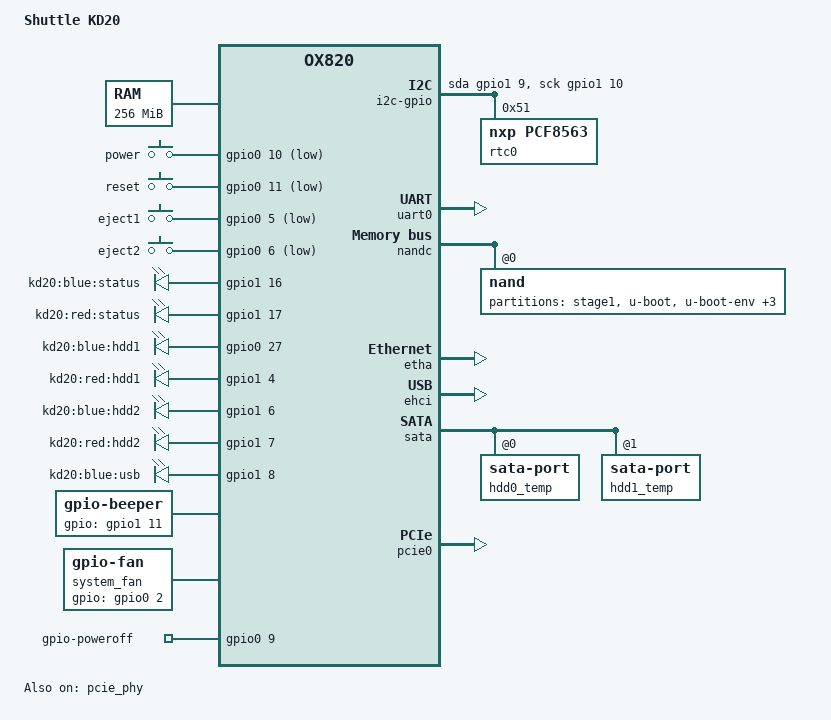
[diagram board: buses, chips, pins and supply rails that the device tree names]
/dts-v1/;

#include "ox820.dtsi"

#include <dt-bindings/gpio/gpio.h>
#include <dt-bindings/input/input.h>
#include <dt-bindings/thermal/thermal.h>

/ {
	model = "Shuttle KD20";

	compatible = "shuttle,kd20", "oxsemi,ox820";

	chosen {
		bootargs = "earlyprintk console=ttyS0,115200";
		stdout-path = "serial0:115200n8";
	};

	memory {
		/* 256Mbytes DDR */
		reg = <0x60000000 0x10000000>;
	};

	aliases {
		serial0 = &uart0;
		gpio0 = &gpio0;
		gpio1 = &gpio1;
		led-boot = &led_status;
		led-failsafe = &led_warn;
		led-running = &led_status;
		led-upgrade = &led_warn;
	};

	thermal_zones {
		chassis-thermal {
			/* Poll every 20 seconds */
			polling-delay = <20000>;
			/* Poll every 2nd second when cooling */
			polling-delay-passive = <2000>;

			thermal-sensors = <&hdd0_temp>, <&hdd1_temp>;

			trips {
				chassis_alert0: chassis-alert0 {
					/* At 43 degrees turn on fan */
					temperature = <43000>;
					hysteresis = <3000>;
					type = "active";
				};

				chassis_alert1: chassis-alert1 {
					/* At 60 degrees emergency shutdown */
					temperature = <60000>;
					hysteresis = <2000>;
					type = "critical";
				};
			};

			cooling-maps {
				map0 {
					trip = <&chassis_alert0>;
					cooling-device = <&system_fan THERMAL_NO_LIMIT THERMAL_NO_LIMIT>;
				};
			};
		};
	};

	i2c-gpio {
		compatible = "i2c-gpio";
		sda-gpios = <&gpio1 9 (GPIO_ACTIVE_HIGH|GPIO_OPEN_DRAIN)>;
		sck-gpios = <&gpio1 10 (GPIO_ACTIVE_HIGH|GPIO_OPEN_DRAIN)>;
		i2c-gpio,delay-us = <10>;
		#address-cells = <1>;
		#size-cells = <0>;

		rtc0: rtc@51 {
			compatible = "nxp,pcf8563";
			reg = <0x51>;
		};
	};

	keys {
		compatible = "gpio-keys-polled";
		#address-cells = <1>;
		#size-cells = <0>;
		poll-interval = <100>;

		power {
			label = "power";
			gpios = <&gpio0 10 GPIO_ACTIVE_LOW>;
			linux,code = <KEY_POWER>;
		};
		reset {
			label = "reset";
			gpios = <&gpio0 11 GPIO_ACTIVE_LOW>;
			linux,code = <KEY_RESTART>;
		};
		eject1 {
			label = "eject1";
			gpios = <&gpio0 5 GPIO_ACTIVE_LOW>;
			linux,code = <KEY_EJECTCD>;
		};
		eject2 {
			label = "eject2";
			gpios = <&gpio0 6 GPIO_ACTIVE_LOW>;
			linux,code = <162>;
		};
	};

	leds {
		compatible = "gpio-leds";
		led_status: status {
			label = "kd20:blue:status";
			gpios = <&gpio1 16 GPIO_ACTIVE_HIGH>;
		};
		led_warn: status2 {
			label = "kd20:red:status";
			gpios = <&gpio1 17 GPIO_ACTIVE_HIGH>;
		};
		hdd1blue {
			label = "kd20:blue:hdd1";
			gpios = <&gpio0 27 GPIO_ACTIVE_HIGH>;
			linux,default-trigger = "ata1";
		};
		hdd1red {
			label = "kd20:red:hdd1";
			gpios = <&gpio1 4 GPIO_ACTIVE_HIGH>;
		};
		hdd2blue {
			label = "kd20:blue:hdd2";
			gpios = <&gpio1 6 GPIO_ACTIVE_HIGH>;
			linux,default-trigger = "ata2";
		};
		hdd2red {
			label = "kd20:red:hdd2";
			gpios = <&gpio1 7 GPIO_ACTIVE_HIGH>;
		};
		usb {
			label = "kd20:blue:usb";
			gpios = <&gpio1 8 GPIO_ACTIVE_HIGH>;
			trigger-sources = <&ehci_port1>, <&ehci_port2>;
			linux,default-trigger = "usbport";
		};
	};

	beeper: beeper {
		compatible = "gpio-beeper";
		gpios = <&gpio1 11 GPIO_ACTIVE_HIGH>;
	};

	system_fan: gpio-fan {
		compatible = "gpio-fan";
		gpios = <&gpio0 2 GPIO_ACTIVE_HIGH>;
		gpio-fan,speed-map = <0    0
				      3000 1>;
	};

	gpio-poweroff {
		compatible = "gpio-poweroff";
		gpios = <&gpio0 9 GPIO_ACTIVE_HIGH>;
	};
};

&uart0 {
	status = "okay";

	pinctrl-names = "default";
	pinctrl-0 = <&pinctrl_uart0>;
};

&nandc {
	status = "okay";

	pinctrl-names = "default";
	pinctrl-0 = <&pinctrl_nand>;

	nand@0 {
		reg = <0>;
		#address-cells = <1>;
		#size-cells = <1>;
		nand-ecc-mode = "soft";
		nand-ecc-algo = "hamming";

		partition@0 {
			label = "stage1";
			reg = <0x00000000 0x00040000>;
			read-only;
		};

		partition@40000 {
			label = "u-boot";
			reg = <0x00040000 0x001e0000>;
			read-only;
		};

		partition@220000 {
			label = "u-boot-env";
			reg = <0x00220000 0x00020000>;
		};

		partition@240000 {
			label = "initrd";
			reg = <0x00240000 0x00600000>;
		};

		partition@840000 {
			label = "kernel";
			reg = <0x00840000 0x007C0000>;
		};

		partition@e00000 {
			label = "ubi";
			reg = <0x01000000 0x07000000>;
		};
	};
};

&etha {
	status = "okay";

	pinctrl-names = "default";
	pinctrl-0 = <&pinctrl_etha_mdio>;
};

&ehci {
	status = "okay";
};

&sata {
	status = "okay";
	nr-ports = <2>;

	hdd0_temp: sata-port@0 {
		reg = <0>;
		#thermal-sensor-cells = <0>;
	};

	hdd1_temp: sata-port@1 {
		reg = <1>;
		#thermal-sensor-cells = <0>;
	};
};

&pcie_phy {
	status = "okay";
};

&pcie0 {
	status = "okay";
};
